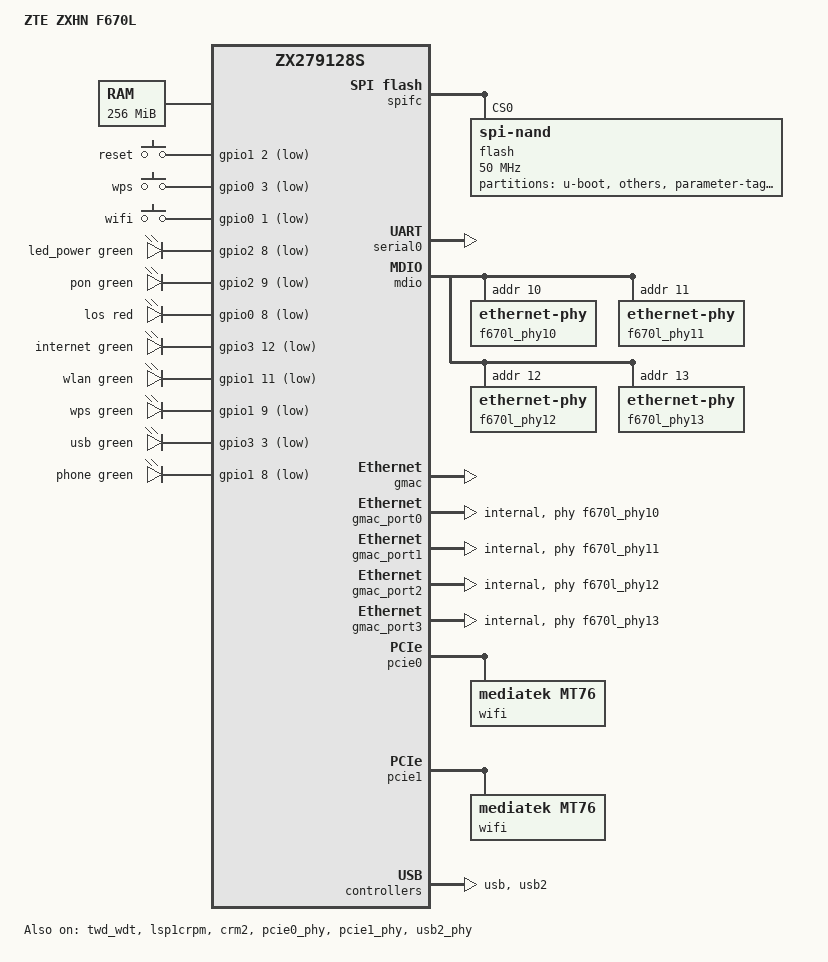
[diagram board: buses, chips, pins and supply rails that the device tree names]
// SPDX-License-Identifier: GPL-2.0-only OR BSD-2-Clause
/dts-v1/;

#include "zte/zx279128s.dtsi"
#include <dt-bindings/gpio/gpio.h>
#include <dt-bindings/input/input.h>
#include <dt-bindings/leds/common.h>

/ {
	model = "ZTE ZXHN F670L";
	compatible = "zte,zxhn-f670l", "zte,zx279128s";

	aliases {
		serial0 = &serial0;
		ethernet0 = &gmac;
	};

	chosen {
		stdout-path = "serial0:115200n8";
		bootargs = "console=ttyAMA0,115200n8 earlycon=zteuart,0x94404000 loglevel=8";
	};

	memory@40000000 {
		device_type = "memory";
		reg = <0x40000000 0x10000000>;
	};

	/* U-Boot's Ethernet DMA buffers stay live after a TFTP boot */
	reserved-memory {
		#address-cells = <1>;
		#size-cells = <1>;
		ranges;

		bootloader-dma@40000000 {
			reg = <0x40000000 0x08000000>;
			no-map;
		};
	};
};

/ {
	keys {
		compatible = "gpio-keys-polled";
		poll-interval = <20>;

		reset {
			label = "reset";
			gpios = <&gpio1 2 GPIO_ACTIVE_LOW>;
			linux,code = <KEY_RESTART>;
		};

		wps {
			label = "wps";
			gpios = <&gpio0 3 GPIO_ACTIVE_LOW>;
			linux,code = <KEY_WPS_BUTTON>;
		};

		wifi {
			label = "wifi";
			gpios = <&gpio0 1 GPIO_ACTIVE_LOW>;
			linux,code = <KEY_RFKILL>;
		};
	};

	aliases {
		led-boot = &led_power;
		led-failsafe = &led_power;
		led-running = &led_power;
		led-upgrade = &led_power;
	};

	leds {
		compatible = "gpio-leds";

		led_power: power {
			function = LED_FUNCTION_POWER;
			color = <LED_COLOR_ID_GREEN>;
			gpios = <&gpio2 8 GPIO_ACTIVE_LOW>;
			default-state = "on";
		};

		pon {
			function = "pon";
			color = <LED_COLOR_ID_GREEN>;
			gpios = <&gpio2 9 GPIO_ACTIVE_LOW>;
		};

		los {
			function = "los";
			color = <LED_COLOR_ID_RED>;
			gpios = <&gpio0 8 GPIO_ACTIVE_LOW>;
		};

		internet {
			function = LED_FUNCTION_WAN_ONLINE;
			color = <LED_COLOR_ID_GREEN>;
			gpios = <&gpio3 12 GPIO_ACTIVE_LOW>;
		};

		wlan {
			function = LED_FUNCTION_WLAN;
			color = <LED_COLOR_ID_GREEN>;
			gpios = <&gpio1 11 GPIO_ACTIVE_LOW>;
		};

		wps {
			function = LED_FUNCTION_WPS;
			color = <LED_COLOR_ID_GREEN>;
			gpios = <&gpio1 9 GPIO_ACTIVE_LOW>;
		};

		usb {
			function = LED_FUNCTION_USB;
			color = <LED_COLOR_ID_GREEN>;
			gpios = <&gpio3 3 GPIO_ACTIVE_LOW>;
		};

		phone {
			function = "phone";
			color = <LED_COLOR_ID_GREEN>;
			gpios = <&gpio1 8 GPIO_ACTIVE_LOW>;
		};
	};
};

/* Stock layout; OpenWrt replaces the second firmware bank (kernel2) */
&spifc {
	status = "okay";

	flash@0 {
		compatible = "spi-nand";
		reg = <0>;
		spi-max-frequency = <50000000>;
		spi-rx-bus-width = <2>;

		partitions {
			compatible = "fixed-partitions";
			#address-cells = <1>;
			#size-cells = <1>;

			partition@0 {
				label = "u-boot";
				reg = <0x0 0x200000>;
				read-only;
			};

			/* BootImageNum selects the bank U-Boot boots */
			partition@200000 {
				label = "others";
				reg = <0x200000 0x400000>;
			};

			partition@600000 {
				label = "parameter-tags";
				reg = <0x600000 0x400000>;
				read-only;
			};

			partition@a00000 {
				label = "wlan";
				reg = <0xa00000 0x400000>;
				read-only;
			};

			partition@e00000 {
				label = "usercfg";
				reg = <0xe00000 0x800000>;
				read-only;
			};

			partition@1600000 {
				label = "middleware";
				reg = <0x1600000 0x400000>;
				read-only;
			};

			partition@1a00000 {
				label = "kernel1";
				reg = <0x1a00000 0x2000000>;
				read-only;
			};

			/* Bank header and the JFFS2 holding /0uImage */
			partition@3a00000 {
				label = "kernel";
				reg = <0x3a00000 0x620000>;
			};

			partition@4020000 {
				label = "ubi";
				reg = <0x4020000 0x19e0000>;
			};
		};
	};
};

&serial0 { status = "okay"; };
&serial1 { status = "disabled"; };

&topcrm {
	reboot { status = "disabled"; };
};

&l2cc {
	zte,l2c-io-read-lock;
};

&twd_wdt { status = "okay"; };

&gpio0 { status = "okay"; };
&gpio1 { status = "okay"; };
&gpio2 { status = "okay"; };
&gpio3 { status = "okay"; };
&gpio4 { status = "okay"; };
&gpio5 { status = "okay"; };

&lsp1crpm { status = "okay"; };

&mdio {
	status = "okay";

	f670l_phy10: ethernet-phy@a { reg = <10>; };
	f670l_phy11: ethernet-phy@b { reg = <11>; };
	f670l_phy12: ethernet-phy@c { reg = <12>; };
	f670l_phy13: ethernet-phy@d { reg = <13>; };
};

&gmac { status = "okay"; };
&gmac_port0 { label = "lan4"; phy-handle = <&f670l_phy10>; phy-mode = "internal"; status = "okay"; };
&gmac_port1 { label = "lan3"; phy-handle = <&f670l_phy11>; phy-mode = "internal"; status = "okay"; };
&gmac_port2 { label = "lan2"; phy-handle = <&f670l_phy12>; phy-mode = "internal"; status = "okay"; };
&gmac_port3 { label = "lan1"; phy-handle = <&f670l_phy13>; phy-mode = "internal"; status = "okay"; };

/* PCIe Wi-Fi: stock F670L does not write the PHY1 calibration */
&crm2 { status = "okay"; };
&pinmux { status = "okay"; };
&pcie0_phy { status = "okay"; };
&pcie1_phy { status = "okay"; zte,no-calibration; };
&pcie0 { status = "okay"; };
&pcie1 { status = "okay"; };

/* Calibration from the stock wlan partition, loaded by 11-mt76-caldata */
&pcie0 {
	pcie@0,0 {
		reg = <0x0000 0 0 0 0>;
		#address-cells = <3>;
		#size-cells = <2>;
		ranges;

		wifi@0,0 {
			compatible = "mediatek,mt76";
			reg = <0x10000 0 0 0 0>;
			mediatek,eeprom-file = "zte-f670l-mt7663.eeprom";
		};
	};
};

&pcie1 {
	pcie@0,0 {
		reg = <0x0000 0 0 0 0>;
		#address-cells = <3>;
		#size-cells = <2>;
		ranges;

		wifi@0,0 {
			compatible = "mediatek,mt76";
			reg = <0x10000 0 0 0 0>;
			mediatek,eeprom-file = "zte-f670l-mt7603.eeprom";
		};
	};
};

&usb { status = "okay"; };
&usb2_phy { status = "okay"; };
&usb2 { status = "okay"; };
